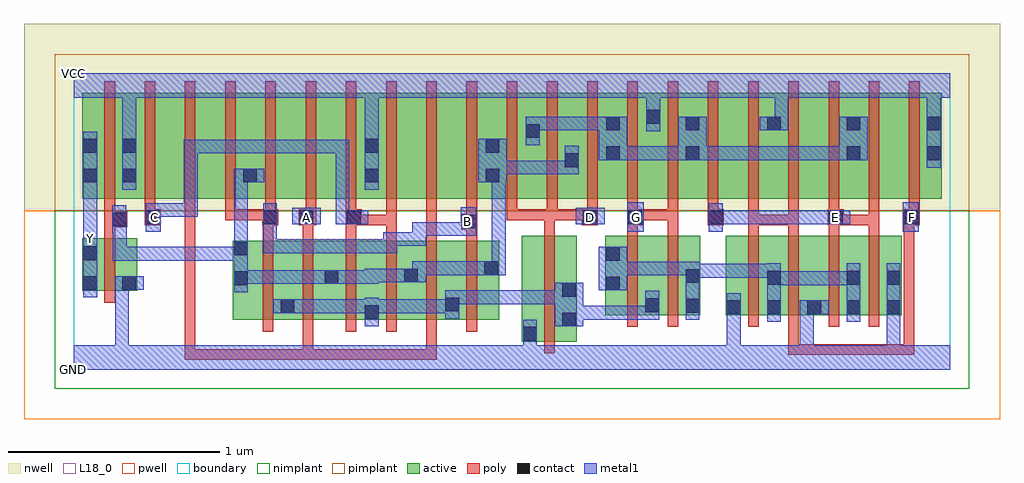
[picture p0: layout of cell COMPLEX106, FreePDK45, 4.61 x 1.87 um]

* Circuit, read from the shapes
.subckt COMPLEX106 A B C D E F G GND VCC Y
M1 GND n1 Y VSUBS nfet w=0.25u l=0.05u
M2 n2 B n1 VSUBS nfet w=0.375u l=0.05u m=2
M3 n1 A n2 VSUBS nfet w=0.375u l=0.05u m=2
M4 n2 C n1 VSUBS nfet w=0.375u l=0.05u m=2
M5 n2 D GND VSUBS nfet w=0.5u l=0.05u
M6 n2 G n3 VSUBS nfet w=0.375u l=0.05u m=2
M7 n3 F GND VSUBS nfet w=0.375u l=0.05u m=2
M8 n3 E GND VSUBS nfet w=0.375u l=0.05u m=2
M9 VCC n1 Y n4 pfet w=0.5u l=0.05u
M10 n5 C VCC n4 pfet w=0.5u l=0.05u
M11 n6 A n5 n4 pfet w=0.5u l=0.05u
M12 n1 B n6 n4 pfet w=0.5u l=0.05u
M13 n7 B n1 n4 pfet w=0.5u l=0.05u
M14 n8 A n7 n4 pfet w=0.5u l=0.05u
M15 VCC C n8 n4 pfet w=0.5u l=0.05u
M16 n9 C VCC n4 pfet w=0.5u l=0.05u
M17 n10 A n9 n4 pfet w=0.5u l=0.05u
M18 n1 B n10 n4 pfet w=0.5u l=0.05u
M19 n11 D n1 n4 pfet w=0.5u l=0.05u m=3
M20 VCC G n11 n4 pfet w=0.5u l=0.05u m=2
M21 n12 E n11 n4 pfet w=0.5u l=0.05u
M22 VCC F n12 n4 pfet w=0.5u l=0.05u
M23 n13 F VCC n4 pfet w=0.5u l=0.05u
M24 n11 E n13 n4 pfet w=0.5u l=0.05u
M25 n14 E n11 n4 pfet w=0.5u l=0.05u
M26 VCC F n14 n4 pfet w=0.5u l=0.05u
.ends

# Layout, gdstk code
import gdstk
lib = gdstk.Library(unit=1e-6, precision=1e-09)
def R(c, l, rs):  # rectangles x0, y0, x1, y1
    for r in rs: c.add(gdstk.rectangle(r[:2], r[2:], *l))
def A(c, l, x, y, w, h, nx, ny, dx, dy):  # array of equal rectangles
    R(c, l, [(x+i*dx, y+j*dy, x+i*dx+w, y+j*dy+h) for i in range(nx) for j in range(ny)])
active = (1, 0)
pwell = (2, 0)
nwell = (3, 0)
nimplant = (4, 0)
pimplant = (5, 0)
poly = (9, 0)
contact = (10, 0)
metal1 = (11, 0)
L18_0 = (18, 0)
boundary = (235, 0)

complex106 = lib.new_cell('COMPLEX106')
A(complex106, active, 0.455, 0.807, 0.19, 0.5, 3, 1, 0.57, 0)
R(complex106, active, [(2.117,0.132,2.377,0.632), (2.117,0.132,2.192,0.632), (2.302,0.195,2.377,0.632), (0.752,0.235,1.047,0.61), (0.972,0.235,1.255,0.61), (1.18,0.235,1.445,0.61), (1.37,0.235,1.63,0.61), (1.37,0.235,1.445,0.592), (1.555,0.235,1.825,0.61), (1.75,0.235,2.01,0.61), (1.75,0.235,1.825,0.467), (0.972,0.242,1.047,0.512), (0.752,0.257,0.827,0.61), (2.51,0.257,2.77,0.632), (2.695,0.257,2.96,0.632), (2.695,0.257,2.77,0.467), (2.885,0.257,2.96,0.632), (3.08,0.257,3.155,0.632), (3.08,0.257,3.345,0.632), (3.27,0.257,3.535,0.632), (3.27,0.257,3.345,0.472), (3.46,0.257,3.72,0.632), (3.46,0.257,3.535,0.497), (3.645,0.257,3.91,0.632), (3.645,0.257,3.72,0.592), (3.835,0.257,3.91,0.632), (1.18,0.32,1.255,0.512), (1.555,0.32,1.63,0.512), (1.935,0.32,2.01,0.61), (2.51,0.32,2.585,0.632), (0.04,0.372,0.115,0.622), (0.04,0.372,0.3,0.622), (0.225,0.372,0.3,0.622), (0.04,0.807,0.3,1.307), (0.04,0.807,0.115,1.2), (0.225,0.807,0.3,1.307), (0.225,0.807,0.455,1.307), (0.645,0.807,0.87,1.307), (0.795,0.807,1.025,1.307), (0.795,0.807,0.87,1.07), (1.215,0.807,1.445,1.307), (1.37,0.807,1.445,1.307), (1.37,0.807,1.595,1.307), (1.785,0.807,2.015,1.307), (1.94,0.807,2.015,1.2), (1.94,0.807,2.205,1.307), (2.13,0.807,2.39,1.307), (2.13,0.807,2.205,1.2), (2.315,0.807,2.585,1.307), (2.315,0.807,2.39,1.07), (2.51,0.807,2.585,1.2), (2.51,0.807,2.775,1.307), (2.7,0.807,2.96,1.307), (2.7,0.807,2.775,1.307), (2.885,0.807,3.115,1.307), (2.885,0.807,2.96,1.2), (3.115,0.807,3.345,1.307), (3.27,0.807,3.345,1.307), (3.27,0.807,3.495,1.307), (3.495,0.807,3.72,1.307), (3.645,0.807,3.875,1.307), (3.645,0.807,3.72,1.2), (3.875,0.807,4.1,1.307), (4.025,0.807,4.1,1.307)])
R(complex106, pwell, [(-0.235,-0.235,4.375,0.75)])
R(complex106, nwell, [(-0.235,0.75,4.375,1.635)])
R(complex106, nimplant, [(-0.09,-0.09,4.23,0.75)])
R(complex106, pimplant, [(-0.09,0.75,4.23,1.49)])
A(complex106, poly, 1.285, 0.18, 0.05, 0.485, 4, 1, 0.19, 0)
A(complex106, poly, 3.185, 0.202, 0.05, 0.485, 4, 1, 0.19, 0)
A(complex106, poly, 3.185, 0.637, 0.05, 0.095, 4, 1, 0.19, 0)
A(complex106, poly, 0.715, 0.707, 0.05, 0.095, 4, 1, 0.19, 0)
A(complex106, poly, 2.045, 0.707, 0.05, 0.095, 6, 1, 0.19, 0)
A(complex106, poly, 0.145, 0.752, 0.05, 0.61, 21, 1, 0.19, 0)
R(complex106, poly, [(0.525,0.047,0.575,0.097), (0.525,0.047,0.575,0.097), (0.525,0.047,0.575,0.097), (0.525,0.047,0.575,0.097), (0.525,0.047,0.575,0.097), (0.525,0.047,0.575,0.097), (0.525,0.047,0.575,0.097), (0.525,0.047,0.575,0.097), (0.525,0.047,0.575,0.097), (0.525,0.047,0.575,0.097), (0.525,0.047,0.575,0.097), (0.525,0.047,0.807,0.097), (0.525,0.047,0.575,0.802), (0.757,0.047,0.807,0.097), (0.757,0.047,0.807,0.097), (0.757,0.047,0.807,0.097), (0.757,0.047,0.98,0.097), (0.93,0.047,0.98,0.097), (0.93,0.047,0.98,0.097), (0.93,0.047,0.98,0.097), (0.93,0.047,1.132,0.097), (1.082,0.047,1.132,0.097), (1.082,0.047,1.132,0.23), (1.082,0.047,1.392,0.097), (1.342,0.047,1.392,0.097), (1.342,0.047,1.392,0.097), (1.342,0.047,1.392,0.097), (1.342,0.047,1.582,0.097), (1.532,0.047,1.582,0.097), (1.532,0.047,1.582,0.097), (1.532,0.047,1.582,0.097), (1.532,0.047,1.715,0.097), (1.665,0.047,1.715,0.097), (1.665,0.047,1.715,0.097), (1.665,0.047,1.715,0.097), (1.665,0.047,1.715,0.23), (3.375,0.07,3.425,0.12), (3.375,0.07,3.425,0.12), (3.375,0.07,3.425,0.12), (3.375,0.07,3.637,0.12), (3.375,0.07,3.425,0.252), (3.587,0.07,3.637,0.12), (3.587,0.07,3.637,0.12), (3.587,0.07,3.637,0.12), (3.587,0.07,3.77,0.12), (3.72,0.07,3.77,0.12), (3.72,0.07,3.97,0.12), (3.92,0.07,3.97,0.12), (3.92,0.07,3.97,0.12), (3.92,0.07,3.97,0.12), (3.92,0.07,3.97,0.732), (2.222,0.077,2.272,0.687), (0.892,0.18,0.942,0.665), (1.082,0.18,1.132,0.665), (2.615,0.202,2.665,0.687), (2.805,0.202,2.855,0.687), (0.145,0.317,0.195,0.677), (0.892,0.615,0.942,0.732), (1.082,0.615,1.132,0.732), (1.285,0.615,1.335,0.732), (1.475,0.615,1.525,0.732), (1.665,0.615,1.715,0.71), (1.855,0.615,1.905,0.712), (0.145,0.627,0.195,0.722), (2.222,0.637,2.272,0.757), (2.615,0.637,2.665,0.732), (2.805,0.637,2.855,0.757), (1.665,0.66,1.715,0.71), (1.665,0.66,1.715,0.802), (1.83,0.662,1.905,0.737), (0.145,0.672,0.252,0.747), (0.335,0.682,0.41,0.757), (0.89,0.682,0.965,0.757), (1.062,0.682,1.145,0.757), (1.285,0.682,1.36,0.757), (1.31,0.682,1.525,0.732), (1.475,0.682,1.525,0.732), (1.475,0.682,1.525,0.732), (1.475,0.682,1.525,0.732), (1.475,0.682,1.525,0.802), (2.4,0.682,2.475,0.757), (2.615,0.682,2.69,0.757), (2.995,0.682,3.07,0.757), (3.185,0.682,3.235,0.732), (3.185,0.682,3.235,0.732), (3.185,0.682,3.235,0.732), (3.185,0.682,3.235,0.802), (3.185,0.682,3.425,0.732), (3.375,0.682,3.425,0.732), (3.375,0.682,3.425,0.802), (3.562,0.682,3.637,0.757), (3.587,0.682,3.805,0.732), (3.755,0.682,3.805,0.732), (3.755,0.682,3.805,0.732), (3.755,0.682,3.805,0.732), (3.755,0.682,3.805,0.802), (3.92,0.682,3.97,0.732), (3.92,0.682,3.97,0.732), (3.92,0.682,3.97,0.732), (3.92,0.682,3.97,0.732), (3.92,0.682,3.97,0.732), (3.92,0.682,3.97,0.732), (3.92,0.682,3.995,0.757), (1.855,0.687,1.905,0.802), (0.145,0.697,0.195,0.802), (0.335,0.707,0.385,0.802), (0.715,0.707,0.765,0.757), (0.715,0.707,0.765,0.757), (0.715,0.707,0.765,0.757), (0.715,0.707,0.94,0.757), (2.045,0.707,2.095,0.757), (2.045,0.707,2.095,0.757), (2.045,0.707,2.095,0.757), (2.045,0.707,2.272,0.757), (2.222,0.707,2.285,0.757), (2.235,0.707,2.45,0.757), (2.4,0.707,2.45,0.757), (2.4,0.707,2.45,0.757), (2.64,0.707,2.69,0.757), (2.64,0.707,2.69,0.757), (2.64,0.707,2.855,0.757), (2.805,0.707,2.855,0.757), (3.565,0.707,3.615,0.802), (3.945,0.707,3.995,0.802)])
A(complex106, contact, 3.085, 0.262, 0.065, 0.065, 3, 1, 0.19, 0)
R(complex106, contact, [(2.122,0.137,2.187,0.202), (2.307,0.205,2.372,0.27), (1.375,0.24,1.44,0.305), (3.65,0.262,3.715,0.327), (3.84,0.262,3.905,0.327), (0.977,0.267,1.042,0.332), (2.89,0.27,2.955,0.335), (2.7,0.272,2.765,0.337), (1.755,0.275,1.82,0.34), (2.307,0.345,2.372,0.41), (2.515,0.375,2.58,0.44), (0.045,0.377,0.11,0.442), (0.23,0.377,0.295,0.442), (0.757,0.4,0.822,0.465), (3.275,0.402,3.34,0.467), (3.65,0.402,3.715,0.467), (3.84,0.402,3.905,0.467), (1.185,0.405,1.25,0.47), (2.89,0.41,2.955,0.475), (1.56,0.412,1.625,0.477), (1.94,0.447,2.005,0.512), (2.515,0.515,2.58,0.58), (0.045,0.517,0.11,0.582), (0.757,0.54,0.822,0.605), (1.835,0.667,1.9,0.732), (0.182,0.677,0.247,0.742), (0.34,0.687,0.405,0.752), (0.895,0.687,0.96,0.752), (1.067,0.687,1.132,0.752), (1.29,0.687,1.355,0.752), (2.405,0.687,2.47,0.752), (2.62,0.687,2.685,0.752), (3,0.687,3.065,0.752), (3.567,0.687,3.632,0.752), (3.925,0.687,3.99,0.752), (0.045,0.885,0.11,0.95), (0.23,0.885,0.295,0.95), (0.8,0.885,0.865,0.95), (1.375,0.885,1.44,0.95), (1.945,0.885,2.01,0.95), (2.32,0.957,2.385,1.022), (2.515,0.99,2.58,1.055), (2.89,0.99,2.955,1.055), (3.65,0.99,3.715,1.055), (4.03,0.99,4.095,1.055), (0.045,1.025,0.11,1.09), (0.23,1.025,0.295,1.09), (1.375,1.025,1.44,1.09), (1.945,1.025,2.01,1.09), (2.135,1.095,2.2,1.16), (2.515,1.13,2.58,1.195), (2.89,1.13,2.955,1.195), (3.275,1.13,3.34,1.195), (3.65,1.13,3.715,1.195), (4.03,1.13,4.095,1.195), (2.705,1.162,2.77,1.227)])
R(complex106, metal1, [(0,0,4.14,0.115), (0.195,0.05,0.26,0.375), (2.122,0.05,2.187,0.115), (2.122,0.05,2.187,0.115), (2.122,0.05,2.187,0.167), (3.085,0.05,3.15,0.155), (3.43,0.05,3.495,0.115), (3.43,0.05,3.495,0.115), (3.43,0.05,3.495,0.327), (3.84,0.05,3.905,0.115), (3.84,0.05,3.905,0.292), (3.085,0.09,3.15,0.155), (3.085,0.09,3.15,0.155), (3.085,0.09,3.15,0.155), (3.085,0.09,3.15,0.292), (2.122,0.102,2.187,0.237), (1.375,0.205,1.44,0.34), (2.272,0.205,2.407,0.41), (3.085,0.227,3.15,0.362), (3.275,0.227,3.34,0.502), (3.65,0.227,3.715,0.502), (3.84,0.227,3.905,0.502), (3.84,0.227,3.905,0.292), (3.84,0.227,3.905,0.292), (3.84,0.227,3.905,0.292), (2.89,0.235,2.955,0.51), (2.342,0.237,2.407,0.302), (2.342,0.237,2.407,0.302), (2.342,0.237,2.627,0.302), (2.562,0.237,2.627,0.302), (2.562,0.237,2.627,0.302), (2.562,0.237,2.627,0.302), (2.562,0.237,2.765,0.302), (2.7,0.237,2.765,0.372), (1.755,0.24,1.82,0.375), (3.43,0.262,3.495,0.327), (3.43,0.262,3.495,0.327), (3.43,0.262,3.565,0.327), (0.942,0.267,1.077,0.332), (1.012,0.267,1.115,0.332), (1.05,0.267,1.115,0.332), (1.05,0.267,1.302,0.332), (1.237,0.267,1.302,0.332), (1.237,0.267,1.305,0.332), (1.24,0.267,1.305,0.332), (1.24,0.267,1.44,0.332), (1.375,0.267,1.527,0.332), (1.462,0.267,1.527,0.332), (1.462,0.267,1.665,0.332), (1.6,0.267,1.665,0.332), (1.6,0.267,1.665,0.332), (1.6,0.267,1.665,0.332), (1.6,0.267,1.82,0.332), (0.195,0.31,0.26,0.375), (0.195,0.31,0.26,0.442), (1.755,0.31,1.82,0.375), (1.755,0.31,1.82,0.375), (1.755,0.31,2.045,0.375), (1.98,0.31,2.045,0.375), (1.98,0.31,2.045,0.375), (1.98,0.31,2.045,0.375), (1.98,0.31,2.182,0.375), (2.117,0.31,2.182,0.375), (2.117,0.31,2.182,0.375), (2.117,0.31,2.182,0.375), (2.117,0.31,2.337,0.375), (0.045,0.342,0.11,0.617), (0.757,0.365,0.822,0.64), (0.757,0.365,0.822,0.43), (0.757,0.365,0.822,0.47), (2.48,0.375,2.615,0.58), (0.195,0.377,0.26,0.442), (0.195,0.377,0.26,0.442), (0.195,0.377,0.26,0.442), (0.195,0.377,0.26,0.442), (0.195,0.377,0.33,0.442), (3.275,0.4,3.34,0.465), (3.275,0.4,3.34,0.465), (3.275,0.4,3.542,0.465), (3.477,0.4,3.542,0.465), (3.477,0.4,3.542,0.465), (3.477,0.4,3.542,0.465), (3.477,0.4,3.715,0.465), (0.757,0.405,0.96,0.47), (0.895,0.405,0.96,0.47), (0.895,0.405,0.96,0.47), (0.895,0.405,0.96,0.47), (0.895,0.405,1.097,0.47), (1.032,0.405,1.097,0.47), (1.032,0.405,1.215,0.47), (1.15,0.405,1.285,0.47), (1.22,0.405,1.332,0.47), (1.267,0.405,1.332,0.47), (1.267,0.405,1.44,0.47), (1.375,0.405,1.44,0.477), (1.375,0.412,1.527,0.477), (1.462,0.412,1.527,0.477), (1.462,0.412,1.59,0.477), (1.525,0.412,1.66,0.477), (1.595,0.412,1.665,0.477), (1.6,0.412,1.665,0.512), (2.89,0.435,2.955,0.5), (2.89,0.435,2.955,0.5), (2.89,0.435,3.137,0.5), (3.072,0.435,3.137,0.5), (3.072,0.435,3.202,0.5), (3.137,0.435,3.202,0.5), (3.137,0.435,3.34,0.5), (2.55,0.445,2.615,0.51), (2.55,0.445,2.615,0.51), (2.55,0.445,2.782,0.51), (2.717,0.445,2.782,0.51), (2.717,0.445,2.782,0.51), (2.717,0.445,2.782,0.51), (2.717,0.445,2.955,0.51), (1.6,0.447,1.802,0.512), (1.737,0.447,1.802,0.512), (1.737,0.447,1.802,0.512), (1.737,0.447,1.802,0.512), (1.737,0.447,1.97,0.512), (1.905,0.447,2.04,0.512), (1.975,0.447,2.04,0.512), (1.975,0.447,2.04,0.512), (1.975,0.447,2.04,0.95), (0.185,0.515,0.25,0.58), (0.185,0.515,0.387,0.58), (0.185,0.515,0.25,0.707), (0.322,0.515,0.387,0.58), (0.322,0.515,0.387,0.58), (0.322,0.515,0.387,0.58), (0.322,0.515,0.585,0.58), (0.52,0.515,0.585,0.58), (0.52,0.515,0.585,0.58), (0.52,0.515,0.585,0.58), (0.52,0.515,0.822,0.58), (0.757,0.515,0.822,0.58), (0.757,0.515,0.822,0.58), (0.895,0.55,0.96,0.615), (0.895,0.55,1.167,0.615), (0.895,0.55,0.96,0.717), (1.102,0.55,1.167,0.615), (1.102,0.55,1.302,0.615), (1.237,0.55,1.302,0.615), (1.237,0.55,1.305,0.615), (1.24,0.55,1.305,0.615), (1.24,0.55,1.452,0.615), (1.387,0.55,1.452,0.615), (1.387,0.55,1.527,0.615), (1.462,0.55,1.527,0.65), (0.045,0.552,0.11,0.617), (0.045,0.552,0.112,0.687), (0.757,0.575,0.822,0.95), (1.462,0.585,1.665,0.65), (1.6,0.585,1.665,0.65), (1.6,0.585,1.665,0.697), (0.045,0.622,0.11,0.915), (1.6,0.632,1.665,0.697), (1.6,0.632,1.665,0.697), (1.6,0.632,1.665,0.697), (1.6,0.632,1.827,0.697), (1.762,0.632,1.827,0.697), (1.762,0.632,1.892,0.697), (1.827,0.632,1.9,0.767), (0.182,0.642,0.247,0.777), (0.182,0.642,0.25,0.707), (0.185,0.642,0.25,0.707), (0.34,0.652,0.412,0.787), (0.895,0.652,0.96,0.717), (0.895,0.652,0.96,0.717), (0.895,0.652,0.96,0.787), (2.615,0.652,2.692,0.79), (3,0.652,3.065,0.787), (3.915,0.652,3.992,0.79), (1.032,0.687,1.167,0.765), (1.237,0.687,1.302,0.752), (1.237,0.687,1.32,0.752), (1.237,0.687,1.302,1.087), (1.255,0.687,1.39,0.752), (2.37,0.687,2.507,0.765), (3,0.687,3.137,0.752), (3.072,0.687,3.137,0.752), (3.072,0.687,3.202,0.752), (3.137,0.687,3.202,0.752), (3.137,0.687,3.357,0.752), (3.292,0.687,3.357,0.752), (3.292,0.687,3.357,0.752), (3.292,0.687,3.357,0.752), (3.292,0.687,3.495,0.752), (3.43,0.687,3.495,0.752), (3.43,0.687,3.597,0.752), (3.532,0.687,3.667,0.752), (0.347,0.722,0.412,0.787), (0.347,0.722,0.412,0.787), (0.347,0.722,0.585,0.787), (0.52,0.722,0.585,0.787), (0.52,0.722,0.585,0.787), (0.52,0.722,0.585,0.787), (0.52,0.722,0.585,0.787), (0.52,0.722,0.585,0.787), (0.52,0.722,0.585,1.087), (0.045,0.85,0.11,1.125), (0.23,0.85,0.295,1.125), (1.375,0.85,1.44,1.125), (0.757,0.885,0.822,0.95), (0.757,0.885,0.822,0.95), (0.757,0.885,0.9,0.95), (1.91,0.885,2.045,1.09), (1.975,0.885,2.04,0.95), (1.975,0.885,2.04,0.95), (1.98,0.922,2.045,0.987), (1.98,0.922,2.045,0.987), (1.98,0.922,2.2,0.987), (2.135,0.922,2.2,0.987), (2.135,0.922,2.2,0.987), (2.135,0.922,2.2,0.987), (2.135,0.922,2.385,0.987), (2.32,0.922,2.385,1.057), (4.03,0.955,4.095,1.23), (2.48,0.99,2.615,1.195), (2.55,0.99,2.615,1.055), (2.55,0.99,2.615,1.055), (2.55,0.99,2.765,1.055), (2.7,0.99,2.765,1.055), (2.7,0.99,2.765,1.055), (2.7,0.99,2.765,1.055), (2.7,0.99,2.92,1.055), (2.855,0.99,2.99,1.195), (2.925,0.99,2.99,1.055), (2.925,0.99,2.99,1.055), (2.925,0.99,3.137,1.055), (3.072,0.99,3.137,1.055), (3.072,0.99,3.202,1.055), (3.137,0.99,3.202,1.055), (3.137,0.99,3.357,1.055), (3.292,0.99,3.357,1.055), (3.292,0.99,3.357,1.055), (3.292,0.99,3.357,1.055), (3.292,0.99,3.512,1.055), (3.447,0.99,3.512,1.055), (3.447,0.99,3.512,1.055), (3.447,0.99,3.512,1.055), (3.447,0.99,3.68,1.055), (3.615,0.99,3.75,1.195), (0.52,1.022,0.585,1.087), (0.52,1.022,0.722,1.087), (0.657,1.022,0.722,1.087), (0.657,1.022,0.722,1.087), (0.657,1.022,0.722,1.087), (0.657,1.022,0.96,1.087), (0.895,1.022,0.96,1.087), (0.895,1.022,0.96,1.087), (0.895,1.022,0.96,1.087), (0.895,1.022,1.167,1.087), (1.102,1.022,1.167,1.087), (1.102,1.022,1.302,1.087), (1.237,1.022,1.302,1.087), (1.237,1.022,1.302,1.087), (1.237,1.022,1.302,1.087), (0.23,1.06,0.295,1.35), (1.375,1.06,1.44,1.35), (2.135,1.06,2.2,1.195), (2.705,1.127,2.77,1.262), (2.135,1.13,2.2,1.195), (2.135,1.13,2.2,1.195), (2.135,1.13,2.337,1.195), (2.272,1.13,2.337,1.195), (2.272,1.13,2.337,1.195), (2.272,1.13,2.337,1.195), (2.272,1.13,2.545,1.195), (3.24,1.13,3.375,1.195), (3.31,1.13,3.375,1.35), (4.03,1.165,4.095,1.35), (2.705,1.197,2.77,1.35), (0,1.285,4.14,1.4)])
R(complex106, L18_0, [(0,0,4.14,0.115), (0.195,0.05,0.26,0.375), (2.122,0.05,2.187,0.115), (2.122,0.05,2.187,0.115), (2.122,0.05,2.187,0.167), (3.085,0.05,3.15,0.155), (3.43,0.05,3.495,0.115), (3.43,0.05,3.495,0.115), (3.43,0.05,3.495,0.327), (3.84,0.05,3.905,0.115), (3.84,0.05,3.905,0.292), (3.085,0.09,3.15,0.155), (3.085,0.09,3.15,0.155), (3.085,0.09,3.15,0.155), (3.085,0.09,3.15,0.292), (2.122,0.102,2.187,0.237), (3.085,0.227,3.15,0.362), (3.84,0.227,3.905,0.502), (3.84,0.227,3.905,0.292), (3.84,0.227,3.905,0.292), (3.84,0.227,3.905,0.292), (3.43,0.262,3.495,0.327), (3.43,0.262,3.495,0.327), (3.43,0.262,3.565,0.327), (0.195,0.31,0.26,0.375), (0.195,0.31,0.26,0.442), (0.045,0.342,0.11,0.617), (0.195,0.377,0.26,0.442), (0.195,0.377,0.26,0.442), (0.195,0.377,0.26,0.442), (0.195,0.377,0.26,0.442), (0.195,0.377,0.33,0.442), (0.895,0.55,0.96,0.615), (0.895,0.55,0.96,0.717), (0.895,0.55,1.167,0.615), (1.102,0.55,1.167,0.615), (1.102,0.55,1.302,0.615), (1.237,0.55,1.302,0.615), (1.237,0.55,1.305,0.615), (1.24,0.55,1.305,0.615), (1.24,0.55,1.452,0.615), (1.387,0.55,1.452,0.615), (1.387,0.55,1.527,0.615), (1.462,0.55,1.527,0.65), (0.045,0.552,0.112,0.687), (0.045,0.552,0.11,0.617), (1.462,0.585,1.665,0.65), (1.6,0.585,1.665,0.65), (1.6,0.585,1.665,0.697), (0.047,0.587,0.112,0.652), (0.045,0.622,0.11,0.915), (1.6,0.632,1.665,0.697), (1.6,0.632,1.665,0.697), (1.6,0.632,1.665,0.697), (1.6,0.632,1.827,0.697), (1.762,0.632,1.827,0.697), (1.762,0.632,1.892,0.697), (1.827,0.632,1.9,0.767), (0.34,0.652,0.412,0.787), (0.895,0.652,0.96,0.717), (0.895,0.652,0.96,0.717), (0.895,0.652,0.96,0.787), (2.615,0.652,2.692,0.79), (3,0.652,3.065,0.787), (3.915,0.652,3.992,0.79), (1.827,0.667,1.892,0.732), (0.347,0.687,0.412,0.752), (1.032,0.687,1.167,0.765), (1.067,0.687,1.132,0.752), (1.237,0.687,1.302,0.752), (1.237,0.687,1.302,1.087), (1.237,0.687,1.32,0.752), (1.255,0.687,1.39,0.752), (2.37,0.687,2.507,0.765), (2.407,0.687,2.472,0.752), (2.627,0.687,2.692,0.752), (3,0.687,3.137,0.752), (3.072,0.687,3.137,0.752), (3.072,0.687,3.202,0.752), (3.137,0.687,3.202,0.752), (3.137,0.687,3.357,0.752), (3.292,0.687,3.357,0.752), (3.292,0.687,3.357,0.752), (3.292,0.687,3.357,0.752), (3.292,0.687,3.495,0.752), (3.43,0.687,3.495,0.752), (3.43,0.687,3.597,0.752), (3.532,0.687,3.667,0.752), (3.567,0.687,3.632,0.752), (3.927,0.687,3.992,0.752), (0.347,0.722,0.412,0.787), (0.347,0.722,0.412,0.787), (0.347,0.722,0.585,0.787), (0.52,0.722,0.585,0.787), (0.52,0.722,0.585,0.787), (0.52,0.722,0.585,0.787), (0.52,0.722,0.585,0.787), (0.52,0.722,0.585,0.787), (0.52,0.722,0.585,1.087), (0.045,0.85,0.11,1.125), (0.23,0.85,0.295,1.125), (1.375,0.85,1.44,1.125), (4.03,0.955,4.095,1.23), (0.52,1.022,0.585,1.087), (0.52,1.022,0.722,1.087), (0.657,1.022,0.722,1.087), (0.657,1.022,0.722,1.087), (0.657,1.022,0.722,1.087), (0.657,1.022,0.96,1.087), (0.895,1.022,0.96,1.087), (0.895,1.022,0.96,1.087), (0.895,1.022,0.96,1.087), (0.895,1.022,1.167,1.087), (1.102,1.022,1.167,1.087), (1.102,1.022,1.302,1.087), (1.237,1.022,1.302,1.087), (1.237,1.022,1.302,1.087), (1.237,1.022,1.302,1.087), (0.23,1.06,0.295,1.35), (1.375,1.06,1.44,1.35), (2.705,1.127,2.77,1.262), (3.24,1.13,3.375,1.195), (3.31,1.13,3.375,1.35), (4.03,1.165,4.095,1.35), (2.705,1.197,2.77,1.35), (0,1.285,4.14,1.4)])
R(complex106, boundary, [(0,0,4.14,1.4)])
complex106.add(gdstk.Label('A', (1.1,0.72), layer=11, texttype=0))
complex106.add(gdstk.Label('B', (1.86,0.7), layer=11, texttype=0))
complex106.add(gdstk.Label('C', (0.38,0.72), layer=11, texttype=0))
complex106.add(gdstk.Label('D', (2.44,0.72), layer=11, texttype=0))
complex106.add(gdstk.Label('E', (3.6,0.72), layer=11, texttype=0))
complex106.add(gdstk.Label('F', (3.96,0.72), layer=11, texttype=0))
complex106.add(gdstk.Label('G', (2.66,0.72), layer=11, texttype=0))
complex106.add(gdstk.Label('Y', (0.08,0.62), layer=11, texttype=0))
complex106.add(gdstk.Label('VCC', (0,1.4), layer=11, texttype=0))
complex106.add(gdstk.Label('GND', (0,0), layer=11, texttype=0))

lib.write_gds('COMPLEX106.gds')
